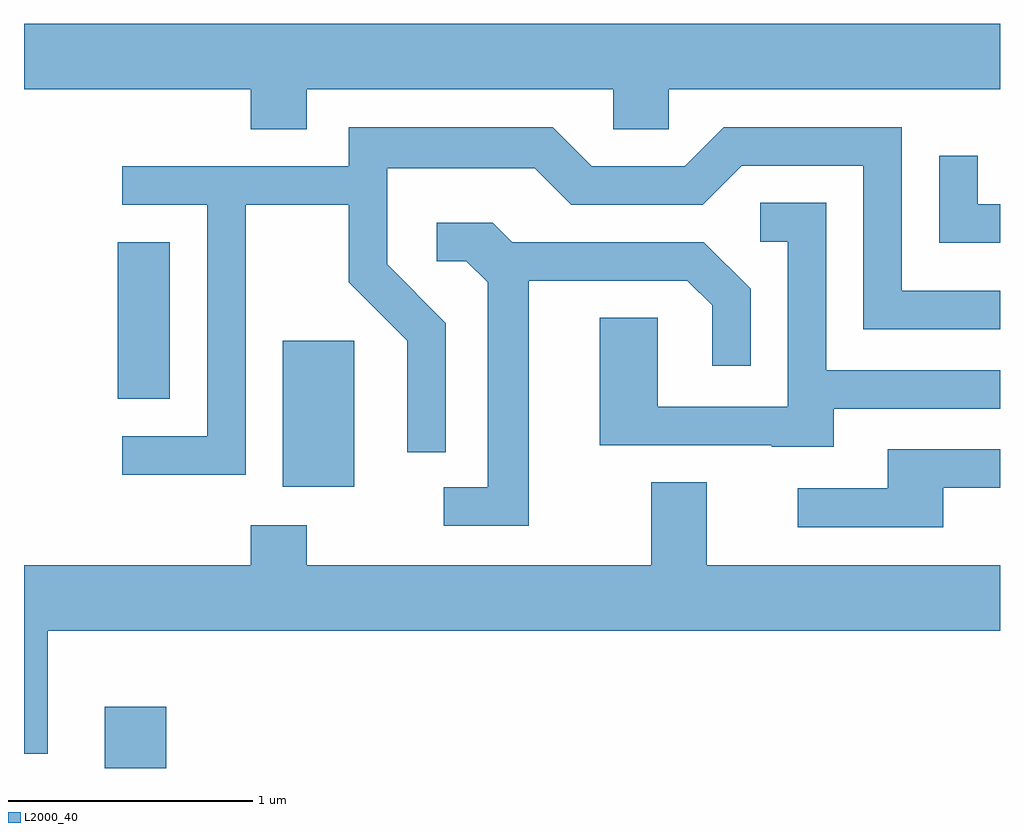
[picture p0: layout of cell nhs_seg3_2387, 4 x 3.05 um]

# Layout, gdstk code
import gdstk
lib = gdstk.Library(unit=1e-6, precision=1e-09)
def R(c, l, rs):  # rectangles x0, y0, x1, y1
    for r in rs: c.add(gdstk.rectangle(r[:2], r[2:], *l))
def P(c, l, *ps):  # polygons
    for p in ps: c.add(gdstk.Polygon(p, *l))
L2000_40 = (2000, 40)

nhs_seg3_2387 = lib.new_cell('nhs_seg3_2387')
R(nhs_seg3_2387, L2000_40, [(255.941,1129.892,256.194,1130.144), (256.671,1131.046,256.964,1131.644), (255.996,1131.406,256.209,1132.049)])
P(nhs_seg3_2387, L2000_40, [(256.769,1132.676),(258.026,1132.676),(258.026,1132.511),(258.254,1132.511),(258.254,1132.676),(259.611,1132.676),(259.611,1132.944),(255.611,1132.944),(255.611,1132.676),(256.541,1132.676),(256.541,1132.511),(256.769,1132.511)],
  [(256.519,1132.201),(256.941,1132.201),(256.941,1131.884),(257.181,1131.644),(257.181,1131.188),(257.339,1131.188),(257.339,1131.717),(257.099,1131.957),(257.099,1132.351),(257.704,1132.351),(257.854,1132.201),(258.392,1132.201),(258.552,1132.361),(259.051,1132.361),(259.051,1131.691),(259.611,1131.691),(259.611,1131.849),(259.209,1131.849),(259.209,1132.519),(258.479,1132.519),(258.319,1132.359),(257.937,1132.359),(257.777,1132.519),(256.941,1132.519),(256.941,1132.359),(256.013,1132.359),(256.013,1132.201),(256.361,1132.201),(256.361,1131.254),(256.013,1131.254),(256.013,1131.096),(256.519,1131.096)],
  [(259.611,1132.204),(259.519,1132.204),(259.519,1132.403),(259.361,1132.403),(259.361,1132.046),(259.611,1132.046)],
  [(258.929,1131.366),(259.611,1131.366),(259.611,1131.524),(258.899,1131.524),(258.899,1132.209),(258.628,1132.209),(258.628,1132.051),(258.741,1132.051),(258.741,1131.374),(258.209,1131.374),(258.209,1131.739),(257.971,1131.739),(257.971,1131.216),(258.675,1131.216),(258.675,1131.211),(258.929,1131.211)],
  [(257.679,1131.891),(258.329,1131.891),(258.431,1131.789),(258.431,1131.543),(258.589,1131.543),(258.589,1131.857),(258.397,1132.049),(257.611,1132.049),(257.532,1132.129),(257.303,1132.129),(257.303,1131.971),(257.424,1131.971),(257.511,1131.884),(257.511,1131.044),(257.332,1131.044),(257.332,1130.886),(257.679,1130.886)],
  [(259.379,1131.041),(259.611,1131.041),(259.611,1131.199),(259.151,1131.199),(259.151,1131.039),(258.783,1131.039),(258.783,1130.881),(259.379,1130.881)],
  [(255.709,1130.456),(259.611,1130.456),(259.611,1130.724),(258.409,1130.724),(258.409,1131.064),(258.181,1131.064),(258.181,1130.724),(256.769,1130.724),(256.769,1130.889),(256.541,1130.889),(256.541,1130.724),(255.611,1130.724),(255.611,1129.951),(255.709,1129.951)])

lib.write_gds('nhs_seg3_2387.gds')
